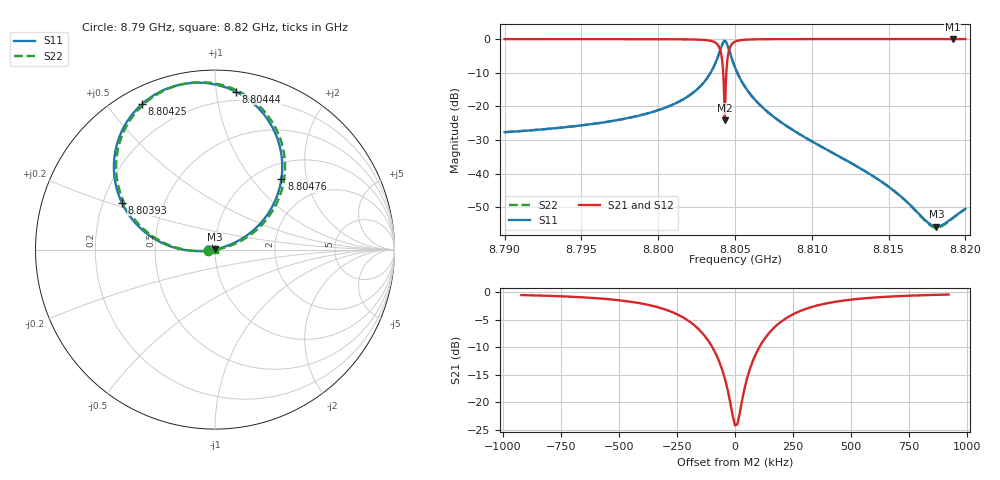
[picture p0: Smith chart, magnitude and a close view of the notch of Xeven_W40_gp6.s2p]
! Sonnet Data File
! From: emgraph Version : 16.52
! From Project: Qubit_Test_beforeopt
! Data is De-embedded
! Data File Written: 10/18/2017 16:57:22
!< HDATE 10/18/2017 09:03:38
!< MDATE 10/18/2017 09:03:38
!< PARAMS
!< Lj = 11.0
!< Gap = 6.0
!< Pwid = 2000.0
!< Airgap = 24.0
!< Width = 40.0
!< END PARAMS
# GHZ S MA R 51.80000
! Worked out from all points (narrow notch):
!   3001 points, 8.79 GHz to 8.82 GHz, reference 51.8 ohm
!   highest |S21| = 0.00 dB at 8.81918 GHz (marker M1); lowest = -24.2 dB at 8.80433 GHz (marker M2)
!   notch at M2: 24.2 dB deep, 153 kHz wide at half that depth
!   lowest |S11| = -55.8 dB at 8.81811 GHz (marker M3), VSWR 1.00, Z = 51.8 + j0.166 ohm
!   |S11| at or under -10 dB: start of sweep to 8.803412 GHz; 8.805146 GHz to end of sweep
!   |S22| runs from -56.1 to -0.5 dB; largest |S21 - S12| = 0
!   S11 on the Smith chart (normalised r, x): 8.79 GHz: 0.92, -0.01; 8.80393 GHz: 0.28, +0.22; 8.80425 GHz: 0.07, +0.62; 8.80444 GHz: 0.14, +1.13; 8.80476 GHz: 1.29, +1.42; 8.82 GHz: 0.99, +0.00
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8.79  0.04123 -173.1  0.9991 -81.7  0.9991 -81.7  0.04123 -170.3
!< P1 F=8.79 Eeff=(6.4425964 -3.0761e-5) Z0=(50.47845 1.09247e-4) R=0.0 C=0.0
!< P2 F=8.79 Eeff=(6.4425964 -3.0761e-5) Z0=(50.47845 1.09247e-4) R=0.0 C=0.0
8.795  0.05202 -173.3  0.9986 -82.3  0.9986 -82.3  0.05202 -171.5
8.8  0.08756 -174.8  0.9959 -84.4  0.9959 -84.4  0.08755 -174.4
8.80256  0.1811 180.0  0.9818 -89.8  0.9818 -89.8  0.181 179.3
8.8035  0.3434 169.9  0.932 -99.5  0.932 -99.5  0.3434 168.7
8.80375  0.4537 162.5  0.8775 -106.4  0.8775 -106.4  0.4536 161.2
8.80393  0.5814 153.2  0.7882 -114.9  0.7882 -114.9  0.5813 151.8
8.8041  0.7542 138.1  0.6009 -128.2  0.6009 -128.2  0.754 136.6
8.80425  0.9078 116.6  0.2683 -141.9  0.2683 -141.9  0.9076 115.0
8.80433  0.9399 102.2  0.0616 -91.5  0.0616 -91.5  0.9398 100.5
8.80444  0.8877 82.4  0.3314 -18.5  0.3314 -18.5  0.8875 80.6
8.80457  0.7411 63.7  0.615 -31.8  0.615 -31.8  0.7409 61.8
8.80476  0.5395 46.7  0.8182 -46.8  0.8182 -46.8  0.5393 44.8
8.805  0.3789 35.5  0.9144 -57.2  0.9144 -57.2  0.3788 33.4
8.80556  0.21 24.9  0.9742 -67.3  0.9742 -67.3  0.2099 22.4
8.80669  0.1015 18.6  0.9939 -73.6  0.9939 -73.6  0.1014 15.2
8.81  0.03019 16.4  0.9994 -77.8  0.9994 -77.8  0.03017 8.7
8.815  0.006382 26.6  0.9999 -79.2  0.9999 -79.2  0.006357 -4.1
8.81754  0.001882 71.5  1 -79.5  1 -79.5  0.001825 -49.4
8.81811  0.001629 100.3  1 -79.6  1 -79.6  0.001568 -79.3
8.81918  0.002204 143.7  1 -79.7  1 -79.7  0.002165 -123.9
8.82  0.00299 158.2  1 -79.7  1 -79.7  0.002964 -138.5
